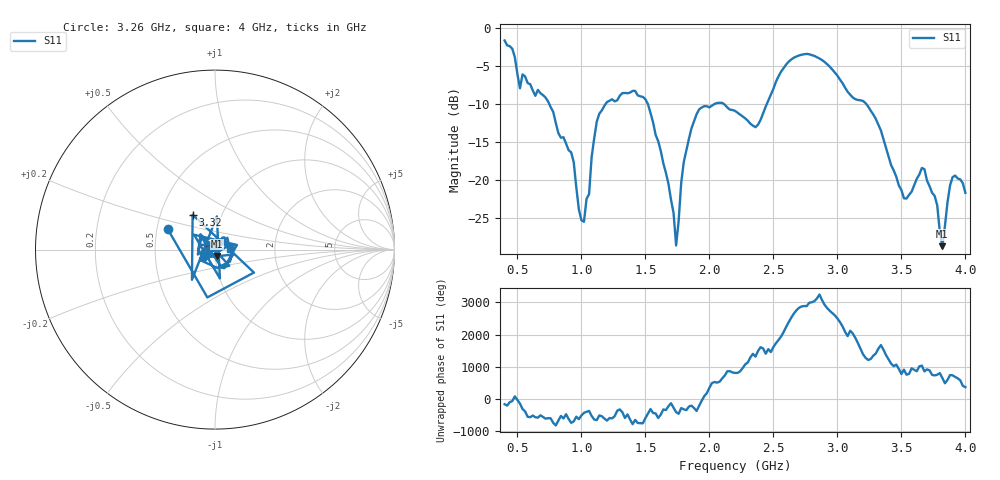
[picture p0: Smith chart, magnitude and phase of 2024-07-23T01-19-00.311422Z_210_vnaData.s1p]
!Created with skrf (http://scikit-rf.org).
# Hz S RI R 50.0
!freq ReS11 ImS11
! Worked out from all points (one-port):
!   181 points, 400 MHz to 4 GHz, reference 50 ohm
!   lowest |S11| = -28.7 dB at 3.82 GHz (marker M1), VSWR 1.08, Z = 51 - j3.57 ohm
!   |S11| at or under -10 dB: 748.4 MHz to 1.19 GHz (441.4 MHz wide, 45.5 % of centre); 1.519 GHz to 2.041 GHz (522.4 MHz wide, 29.3 % of centre); 3.225 GHz to end of sweep (the widest 3 of 4)
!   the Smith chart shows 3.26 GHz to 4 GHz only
!   S11 on the Smith chart (normalised r, x): 3.26 GHz: 0.57, +0.14; 3.32 GHz: 0.73, +0.30; 4 GHz: 1.18, +0.01
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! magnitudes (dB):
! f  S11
! 400 MHz  -1.7
! 520 MHz  -8.0
! 720 MHz  -9.2
! 860 MHz  -14.4
! 940 MHz  -17.7
! 980 MHz  -23.8
! 1.02 GHz  -25.5
! 1.12 GHz  -12.3
! 1.3 GHz  -8.9
! 1.52 GHz  -10.0
! 1.68 GHz  -20.5
! 1.74 GHz  -28.6
! 1.76 GHz  -25.3
! 1.8 GHz  -17.6
! 1.9 GHz  -11.4
! 2.2 GHz  -10.9
! 2.36 GHz  -13.1
! 2.66 GHz  -3.9
! 2.88 GHz  -4.2
! 3.1 GHz  -8.8
! 3.26 GHz  -10.9
! 3.32 GHz  -12.7
! 3.56 GHz  -21.9
! 3.68 GHz  -18.6
! 3.78 GHz  -23.3
! 3.82 GHz  -28.7
! 3.9 GHz  -19.6
! 4 GHz  -21.7
